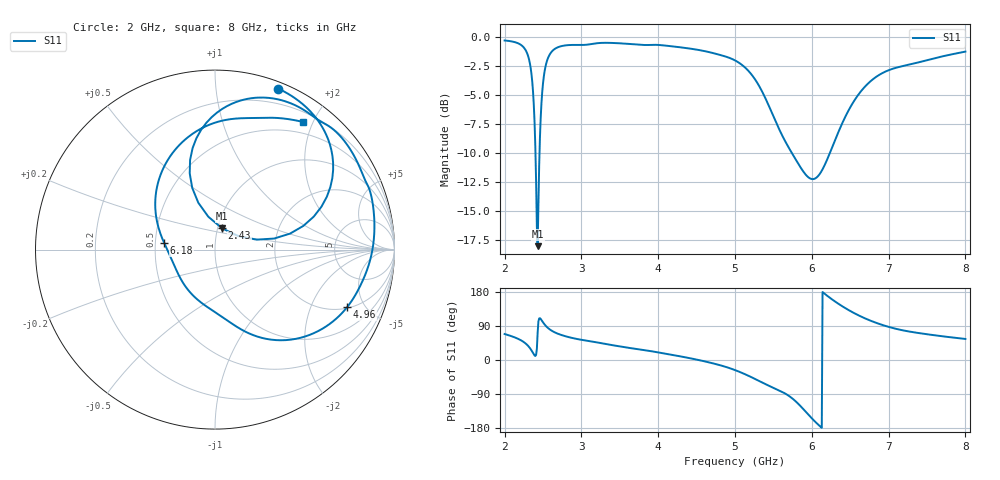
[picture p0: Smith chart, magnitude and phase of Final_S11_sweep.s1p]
! Generated by Hertzon (EMerge FEM)
# HZ S RI R 50
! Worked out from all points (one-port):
!   601 points, 2 GHz to 8 GHz, reference 50 ohm
!   lowest |S11| = -18.1 dB at 2.43 GHz (marker M1), VSWR 1.29, Z = 52.6 + j12.6 ohm
!   |S11| at or under -10 dB: 2.402 GHz to 2.455 GHz (52.99 MHz wide, 2.18 % of centre); 5.738 GHz to 6.237 GHz (499.7 MHz wide, 8.35 % of centre)
!   S11 on the Smith chart (normalised r, x): 2 GHz: 0.06, +1.47; 2.43 GHz: 1.05, +0.25; 4.96 GHz: 2.05, -3.71; 6.18 GHz: 0.56, +0.04; 8 GHz: 0.33, +1.85
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2e9  0.3523 0.8973
2.2e9  0.5532 0.7455
2.27e9  0.6307 0.6135
2.32e9  0.6582 0.4436
2.36e9  0.5933 0.2393
2.39e9  0.418 0.0891
2.41e9  0.2319 0.0554
2.43e9  0.0397 0.1184
2.45e9  -0.093 0.261
2.48e9  -0.1388 0.4992
2.51e9  -0.0774 0.6672
2.55e9  0.0386 0.7827
2.62e9  0.2029 0.8434
2.75e9  0.3823 0.829
2.96e9  0.532 0.753
3.5e9  0.7594 0.5491
4.25e9  0.8872 0.1727
4.64e9  0.8585 -0.0787
4.96e9  0.7353 -0.3216
5e9  0.7071 -0.3541
5.32e9  0.3404 -0.5043
5.75e9  -0.0648 -0.3044
5.99e9  -0.2147 -0.1155
6.18e9  -0.283 0.036
6.5e9  -0.3145 0.3831
6.84e9  -0.0928 0.6657
7.25e9  0.1857 0.7329
8e9  0.488 0.7117
